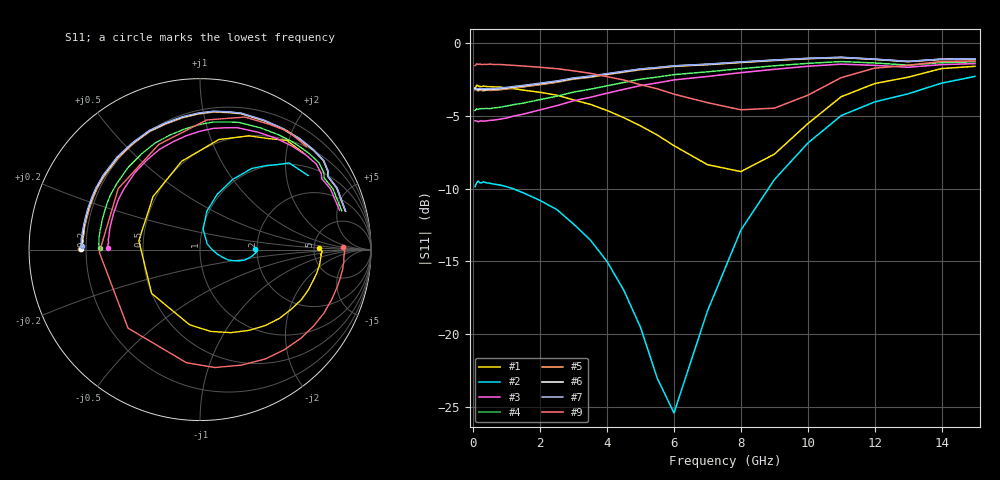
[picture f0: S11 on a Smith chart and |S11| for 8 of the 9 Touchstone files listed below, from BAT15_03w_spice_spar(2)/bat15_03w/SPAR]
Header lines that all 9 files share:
! SIEMENS Small Signal Semiconductors
! BAT15-03W
! Si Schottky Diode in SOD323
! S-Parameters:  May  1996
# GHz  S  MA  R  50
!  f  S11
! GHz  MAG  ANG
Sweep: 50 MHz to 15 GHz
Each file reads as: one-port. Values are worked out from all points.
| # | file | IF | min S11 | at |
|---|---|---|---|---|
| 1 | TOV00M10.S1P | 0.1 mA | -8.8 dB | 8 GHz |
| 2 | TOV00M30.S1P | 0.3 mA | -25.4 dB | 6 GHz |
| 3 | TOV003M0.S1P | 3 mA | -5.4 dB | 150 MHz |
| 4 | TOV004M0.S1P | 4 mA | -4.6 dB | 50 MHz |
| 5 | TOV0010M.S1P | 10 mA | -3.3 dB | 150 MHz |
| 6 | TOV0012M.S1P | 12 mA | -3.2 dB | 300 MHz |
| 7 | TOV0015M.S1P | 15 mA | -3.2 dB | 50 MHz |
| 8 | TOV0020M.S1P | 20 mA | -3.3 dB | 150 MHz |
| 9 | TOV0050U.S1P | 0.05 mA | -4.6 dB | 8 GHz |
